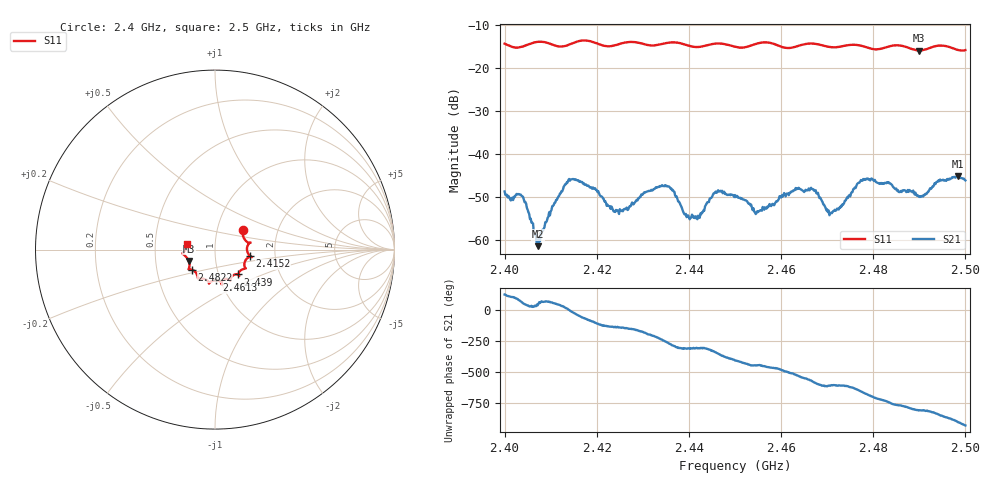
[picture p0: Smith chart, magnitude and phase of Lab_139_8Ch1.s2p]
# Hz S RI R 50
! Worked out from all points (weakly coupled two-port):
!   601 points, 2.4 GHz to 2.5 GHz, reference 50 ohm
!   highest |S21| = -45.22 dB at 2.4983 GHz (marker M1); lowest = -61.4 dB at 2.4072 GHz (marker M2)
!   lowest |S11| = -15.9 dB at 2.49 GHz (marker M3), VSWR 1.38, Z = 36.9 - j4.8 ohm
!   |S11| at or under -10 dB: start of sweep to end of sweep
!   S12 and S22 are empty: the file has one direction only
!   S11 on the Smith chart (normalised r, x): 2.4 GHz: 1.33, +0.31; 2.4152 GHz: 1.48, -0.11; 2.439 GHz: 1.24, -0.36; 2.4613 GHz: 0.96, -0.34; 2.4822 GHz: 0.75, -0.17; 2.5 GHz: 0.73, +0.05
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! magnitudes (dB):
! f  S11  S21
! 2.4 GHz  -14.3  -48.7
! 2.404 GHz  -15.0  -50.0
! 2.4072 GHz  -13.9  -61.4
! 2.4152 GHz  -14.0  -45.9
! 2.4167 GHz  -13.6  -46.5
! 2.4243 GHz  -14.6  -53.2
! 2.4333 GHz  -14.6  -47.6
! 2.4363 GHz  -14.0  -48.4
! 2.439 GHz  -14.5  -54.0
! 2.4422 GHz  -15.1  -54.5
! 2.4462 GHz  -14.3  -48.7
! 2.45 GHz  -15.0  -49.5
! 2.4547 GHz  -14.3  -53.7
! 2.4613 GHz  -15.3  -49.2
! 2.4667 GHz  -14.3  -48.1
! 2.471 GHz  -15.1  -53.8
! 2.4777 GHz  -14.9  -46.2
! 2.4822 GHz  -15.4  -46.8
! 2.4833 GHz  -15.0  -46.5
! 2.49 GHz  -15.9  -50.0
! 2.4983 GHz  -15.8  -45.2
! 2.5 GHz  -15.8  -46.1
